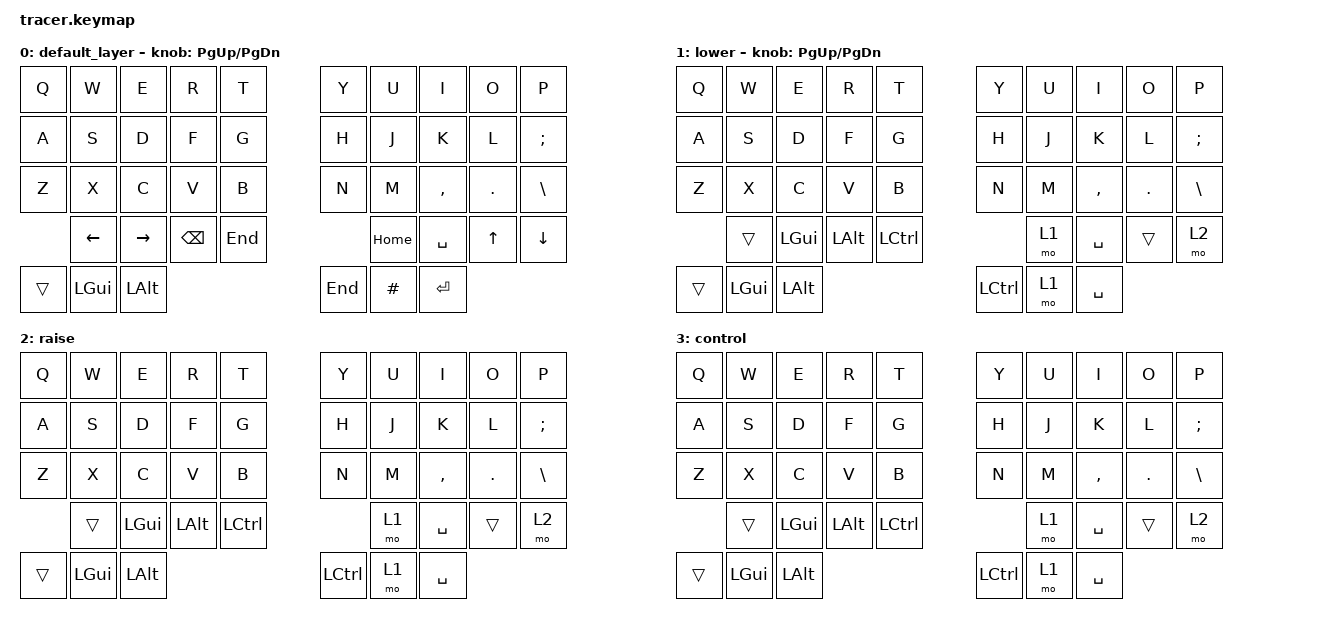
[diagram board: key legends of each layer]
#include <behaviors.dtsi>
#include <dt-bindings/zmk/keys.h>
#include <dt-bindings/zmk/bt.h>

/ {
	keymap {
		compatible = "zmk,keymap";

		default_layer {
				// -----------------------------------------------------------------------------------------
				// |  TAB  |  Q   |  W   |  E   |  R   |  T   |   Y   |  U    |  I   |  O   |   P   | BSPC  |
				// |  ESC  |  A   |  S   |  D   |  F   |  G   |   H   |  J    |  K   |  L   |   ;   |  '    |
				// | SHIFT |  Z   |  X   |  C   |  V   |  B   |   N   |  M    |  ,   |  .   |   /   |  RET  |
				// | FN    | LGUI | LALT | LCTL | LOWR |     SPACE    |  RAIS | LARW | DARW | UARW  |  RARW |
			bindings = <
				&kp Q    &kp W &kp E &kp R &kp T               &kp Y   &kp U  &kp I    &kp O   &kp P
				&kp A    &kp S &kp D &kp F &kp G               &kp H   &kp J  &kp K    &kp L   &kp SEMI
				&kp Z    &kp X &kp C &kp V &kp B               &kp N   &kp M  &kp COMMA &kp DOT &kp BSLH
				         &kp LEFT &kp RIGHT &kp BSPC &kp END   &kp HOME &kp SPACE    &kp UP &kp DOWN
                &trans   &kp LGUI &kp LALT                     &kp END &kp HASH &kp ENTER
			>;

			sensor-bindings = <&inc_dec_kp PG_UP PG_DN>;
		};

		lower {
			bindings = <
				&kp Q    &kp W &kp E &kp R &kp T  &kp Y   &kp U  &kp I    &kp O   &kp P
				&kp A    &kp S &kp D &kp F &kp G  &kp H   &kp J  &kp K    &kp L   &kp SEMI
				&kp Z    &kp X &kp C &kp V &kp B  &kp N   &kp M  &kp COMMA &kp DOT &kp BSLH
				&trans   &kp LGUI &kp LALT &kp LCTRL &mo 1 &kp SPACE &trans &mo 2
                &trans   &kp LGUI &kp LALT &kp LCTRL &mo 1 &kp SPACE
			>;

			sensor-bindings = <&inc_dec_kp PG_UP PG_DN>;
		};

		raise {
			bindings = <
				&kp Q    &kp W &kp E &kp R &kp T  &kp Y   &kp U  &kp I    &kp O   &kp P
				&kp A    &kp S &kp D &kp F &kp G  &kp H   &kp J  &kp K    &kp L   &kp SEMI
				&kp Z    &kp X &kp C &kp V &kp B  &kp N   &kp M  &kp COMMA &kp DOT &kp BSLH
				&trans   &kp LGUI &kp LALT &kp LCTRL &mo 1 &kp SPACE &trans &mo 2
                &trans   &kp LGUI &kp LALT &kp LCTRL &mo 1 &kp SPACE
			>;

		};
		
		control {
			bindings = <
				&kp Q    &kp W &kp E &kp R &kp T  &kp Y   &kp U  &kp I    &kp O   &kp P
				&kp A    &kp S &kp D &kp F &kp G  &kp H   &kp J  &kp K    &kp L   &kp SEMI
				&kp Z    &kp X &kp C &kp V &kp B  &kp N   &kp M  &kp COMMA &kp DOT &kp BSLH
				&trans   &kp LGUI &kp LALT &kp LCTRL &mo 1 &kp SPACE &trans &mo 2
                &trans   &kp LGUI &kp LALT &kp LCTRL &mo 1 &kp SPACE			>;

		};
	};
};
